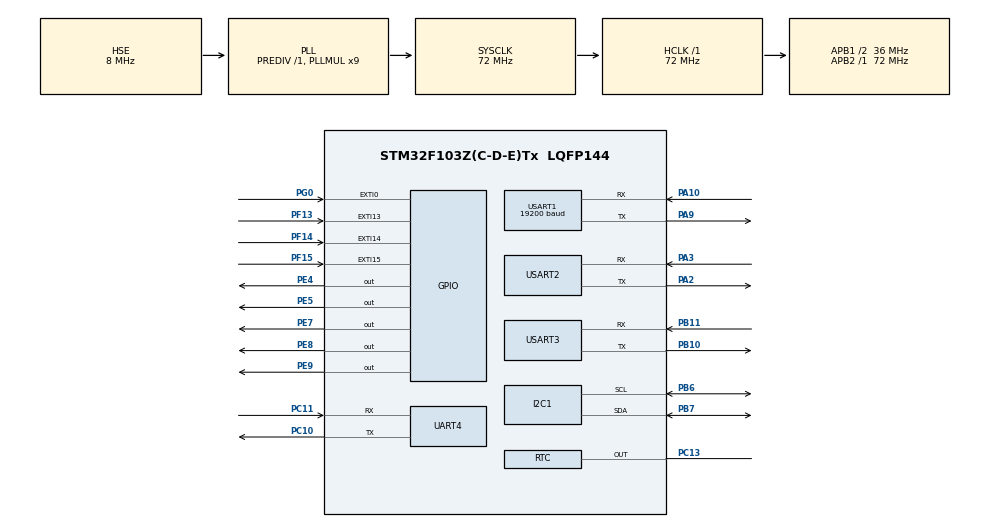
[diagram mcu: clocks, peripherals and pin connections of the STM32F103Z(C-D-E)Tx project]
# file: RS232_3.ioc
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Dma.I2C1_RX.0.Direction=DMA_PERIPH_TO_MEMORY
Dma.I2C1_RX.0.Instance=DMA1_Channel7
Dma.I2C1_RX.0.MemDataAlignment=DMA_MDATAALIGN_BYTE
Dma.I2C1_RX.0.MemInc=DMA_MINC_ENABLE
Dma.I2C1_RX.0.Mode=DMA_CIRCULAR
Dma.I2C1_RX.0.PeriphDataAlignment=DMA_PDATAALIGN_BYTE
Dma.I2C1_RX.0.PeriphInc=DMA_PINC_DISABLE
Dma.I2C1_RX.0.Priority=DMA_PRIORITY_LOW
Dma.Request0=I2C1_RX
I2C1.I2C_Mode=I2C_Fast
Mcu.Family=STM32F1
Mcu.Name=STM32F103Z(C-D-E)Tx
Mcu.Package=LQFP144
NVIC.DMA1_Channel7_IRQn=true\:0\:0\:false\:false\:true
NVIC.EXTI0_IRQn=true\:0\:0\:false\:false\:true
NVIC.EXTI15_10_IRQn=true\:0\:0\:false\:false\:true
NVIC.I2C1_EV_IRQn=true\:0\:0\:false\:false\:true
NVIC.PriorityGroup=NVIC_PRIORITYGROUP_4
NVIC.TIM2_IRQn=true\:0\:0\:false\:false\:true
NVIC.UART4_IRQn=true\:0\:0\:false\:false\:true
NVIC.USART1_IRQn=true\:0\:0\:false\:false\:true
NVIC.USART2_IRQn=true\:0\:0\:false\:false\:true
NVIC.USART3_IRQn=true\:0\:0\:false\:false\:true
OSC_IN.Mode=HSE-External-Oscillator
OSC_IN.Signal=RCC_OSC_IN
OSC_OUT.Mode=HSE-External-Oscillator
OSC_OUT.Signal=RCC_OSC_OUT
PA10.Mode=Asynchronous
PA10.Signal=USART1_RX
PA2.Mode=Asynchronous
PA2.Signal=USART2_TX
PA3.Mode=Asynchronous
PA3.Signal=USART2_RX
PA9.Mode=Asynchronous
PA9.Signal=USART1_TX
PB10.Mode=Asynchronous
PB10.Signal=USART3_TX
PB11.Mode=Asynchronous
PB11.Signal=USART3_RX
PB6.Mode=I2C
PB6.Signal=I2C1_SCL
PB7.Mode=I2C
PB7.Signal=I2C1_SDA
PC10.Mode=Asynchronous
PC10.Signal=UART4_TX
PC11.Mode=Asynchronous
PC11.Signal=UART4_RX
PC13-TAMPER-RTC.Mode=RTC OUT
PC13-TAMPER-RTC.Signal=RTC_OUT
PE4.Signal=GPIO_Output
PE5.Signal=GPIO_Output
PE7.Signal=GPIO_Output
PE8.Signal=GPIO_Output
PE9.Signal=GPIO_Output
PF13.Signal=GPXTI13
PF14.Signal=GPXTI14
PF15.Signal=GPXTI15
PG0.Signal=GPXTI0
ProjectManager.HeapSize=0x200
ProjectManager.StackSize=0x400
ProjectManager.TargetToolchain=MDK-ARM V5
RCC.AHBFreq_Value=72000000
RCC.APB1CLKDivider=RCC_HCLK_DIV2
RCC.APB1Freq_Value=36000000
RCC.APB1TimFreq_Value=72000000
RCC.APB2Freq_Value=72000000
RCC.APB2TimFreq_Value=72000000
RCC.HCLKFreq_Value=72000000
RCC.HSIState=RCC_HSI_ON
RCC.PLLMUL=RCC_PLL_MUL9
RCC.PLLSourceVirtual=RCC_PLLSOURCE_HSE
RCC.SYSCLKFreq_VALUE=72000000
RCC.SYSCLKSource=RCC_SYSCLKSOURCE_PLLCLK
RCC.USBFreq_Value=72000000
RTC.Date=26
RTC.Format=RTC_FORMAT_BIN
RTC.Hours=1
RTC.Minutes=32
RTC.Month=RTC_MONTH_JULY
RTC.WeekDay=RTC_WEEKDAY_THURSDAY
RTC.Year=18
TIM1.Period=199
TIM1.Prescaler=36000
TIM2.Period=1999
TIM2.Prescaler=36000
USART1.BaudRate=19200
VP_TIM1_VS_ClockSourceINT.Mode=Internal
VP_TIM2_VS_ClockSourceINT.Mode=Internal
board=RS232_3

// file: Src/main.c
/**
  ******************************************************************************
  * File Name          : main.c
  * Description        : Main program body
  ******************************************************************************
  *
  * COPYRIGHT(c) 2018 STMicroelectronics
  *
  * Redistribution and use in source and binary forms, with or without modification,
  * are permitted provided that the following conditions are met:
  *   1. Redistributions of source code must retain the above copyright notice,
  *      this list of conditions and the following disclaimer.
  *   2. Redistributions in binary form must reproduce the above copyright notice,
  *      this list of conditions and the following disclaimer in the documentation
  *      and/or other materials provided with the distribution.
  *   3. Neither the name of STMicroelectronics nor the names of its contributors
  *      may be used to endorse or promote products derived from this software
  *      without specific prior written permission.
  *
  * THIS SOFTWARE IS PROVIDED BY THE COPYRIGHT HOLDERS AND CONTRIBUTORS "AS IS"
  * AND ANY EXPRESS OR IMPLIED WARRANTIES, INCLUDING, BUT NOT LIMITED TO, THE
  * IMPLIED WARRANTIES OF MERCHANTABILITY AND FITNESS FOR A PARTICULAR PURPOSE ARE
  * DISCLAIMED. IN NO EVENT SHALL THE COPYRIGHT HOLDER OR CONTRIBUTORS BE LIABLE
  * FOR ANY DIRECT, INDIRECT, INCIDENTAL, SPECIAL, EXEMPLARY, OR CONSEQUENTIAL
  * DAMAGES (INCLUDING, BUT NOT LIMITED TO, PROCUREMENT OF SUBSTITUTE GOODS OR
  * SERVICES; LOSS OF USE, DATA, OR PROFITS; OR BUSINESS INTERRUPTION) HOWEVER
  * CAUSED AND ON ANY THEORY OF LIABILITY, WHETHER IN CONTRACT, STRICT LIABILITY,
  * OR TORT (INCLUDING NEGLIGENCE OR OTHERWISE) ARISING IN ANY WAY OUT OF THE USE
  * OF THIS SOFTWARE, EVEN IF ADVISED OF THE POSSIBILITY OF SUCH DAMAGE.
  *
  ******************************************************************************
  */
#include "stm32f1xx_hal.h"

/* USER CODE BEGIN Includes */
#define DS3231_ADD 0x68
#define Len_rtc 21
/* USER CODE END Includes */

I2C_HandleTypeDef hi2c1;
DMA_HandleTypeDef hdma_i2c1_rx;

RTC_HandleTypeDef hrtc;

TIM_HandleTypeDef htim1;
TIM_HandleTypeDef htim2;

UART_HandleTypeDef huart4;
UART_HandleTypeDef huart1;
UART_HandleTypeDef huart2;
UART_HandleTypeDef huart3;

/* USER CODE BEGIN PV */
/* Private variables ---------------------------------------------------------*/
uint8_t Tx_data[5];
uint8_t cnt;
uint16_t timer;
typedef struct UARTRS232
{
	char Rx_indx;
	char Rx_data[1];
	char	Rx_Buffer[100];
	char	Transfer_cplt;
	char rtc_relay_uart[59];
} Uart2rs232;
Uart2rs232 uart2rs232;

typedef struct RTC_1
{
	uint8_t send_rtc[7];
	uint8_t read_rtc[7];
	uint8_t second,minute,hour,day,date,month,year;
	char rtc1_uart[22];
} RTC1;
RTC1 rtc1;

typedef struct RTC_2
{
	uint8_t giay,phut,gio,thu,ngay,thang,nam;
	RTC_TimeTypeDef sTime;
  RTC_DateTypeDef DateToUpdate;
	char rtc2_uart[21];
}RTC2;
RTC2 rtc2;

typedef struct set_time
{
	uint8_t H1_bat;
	uint8_t H1_tat;
	uint8_t M1_bat;
	uint8_t M1_tat;

	uint8_t H2_bat;
	uint8_t H2_tat;
	uint8_t M2_bat;
	uint8_t M2_tat;

	uint8_t set_ngay;
	uint8_t set_thang;
	uint8_t set_nam;
	uint8_t set_gio;
	uint8_t set_phut;
	uint8_t set_giay;
	uint8_t tam_set_time;
	uint8_t send_data_rtc[7];
}TIME;
TIME time;

typedef struct check_relay
{
	uint8_t check_1;
	uint8_t check_2;
	uint8_t check_3;
	uint8_t cnt_relay1;
	uint8_t cnt_relay2;
	uint8_t cnt_relay3;
	uint8_t relay_echo1;
	uint8_t relay_echo2;
	uint8_t relay_echo3;
	uint8_t relay_echo4;
	uint8_t count_relay1;
	uint8_t count_relay2;
	uint8_t count_relay3;
	uint8_t status_relay1;
	uint8_t status_relay2;
	uint8_t status_relay3;
	uint8_t status_relay4;
	uint8_t tam_relay1;
	uint8_t tam_relay2;
	uint8_t tam_relay3;
	char relay_echo[11];
}RELAY;
RELAY relay;
typedef struct RS485
{
		uint8_t trans_1;
		uint8_t trans_2;
}RS485;
RS485 rs485;
uint8_t a;
uint8_t cnt_relay1;
uint8_t cnt_relay2;
uint8_t cnt_relay3;
/* USER CODE END PV */

void SystemClock_Config(void);
static void MX_GPIO_Init(void);
static void MX_DMA_Init(void);
static void MX_USART1_UART_Init(void);
static void MX_UART4_Init(void);
static void MX_TIM2_Init(void);
static void MX_I2C1_Init(void);
static void MX_RTC_Init(void);
static void MX_USART2_UART_Init(void);
static void MX_USART3_UART_Init(void);
static void MX_TIM1_Init(void);

/* USER CODE BEGIN PFP */
/* Private function prototypes -----------------------------------------------*/
void HAL_UART_RxCpltCallback(UART_HandleTypeDef *huart);
void ONOFF_relay(void);
uint8_t BCD2DEC(uint8_t data);
uint8_t DEC2BCD(uint8_t data);
void read_rtc1(void);
void read_rtc2(void);
void transmit_RTC_relayecho(void);
void ONOFF_relay_time(void);
void check_setting_Time(void);
void count_relay(void);
void relay_10_times(void);
void relay_echo(void);
void set_time(void);
void set_rtc1(void);
void status_relay(void);
void renew_tam_relay(void);
/* USER CODE END PFP */

/* USER CODE BEGIN 0 */

//-------------Receive UART----------------------------------------------------
void HAL_UART_RxCpltCallback(UART_HandleTypeDef *huart)
{
    if (huart->Instance == huart1.Instance)                                                               //current UART
		{
				if (uart2rs232.Rx_indx==0)
				{
						for (uint8_t i=0;i<100;i++) uart2rs232.Rx_Buffer[i]=0;                                        //clear Rx_Buffer before receiving new data
				}

				if (uart2rs232.Rx_data[0]!='\n')                                                                  //if received data different from ascii 13 (enter)
				{
						uart2rs232.Rx_Buffer[uart2rs232.Rx_indx++]=uart2rs232.Rx_data[0];                            //add data to Rx_Buffer
				}
				else                                                                                             //if received data = 13
				{
						uart2rs232.Rx_indx=0;
						HAL_UART_Transmit_IT(&huart1,(uint8_t *)uart2rs232.Rx_Buffer,sizeof(uart2rs232.Rx_Buffer));
				}
				HAL_UART_Receive_IT(&huart1,(uint8_t *)uart2rs232.Rx_data, 1);                                    //activate UART receive interrupt every time
		}

		if(huart->Instance==huart4.Instance)
		{
				if (uart2rs232.Rx_indx==0)
				{
						for (uint8_t i=0;i<100;i++) uart2rs232.Rx_Buffer[i]=0;                                        //clear Rx_Buffer before receiving new data
				}

				if (uart2rs232.Rx_data[0]!='\n')                                                                  //if received data different from ascii 13 (enter)
				{
						uart2rs232.Rx_Buffer[uart2rs232.Rx_indx++]=uart2rs232.Rx_data[0];                             //add data to Rx_Buffer
				}
				else                                                                                              //if received data = 13
				{
						uart2rs232.Rx_indx=0;
						HAL_UART_Transmit_IT(&huart4,(uint8_t *)uart2rs232.Rx_Buffer,sizeof(uart2rs232.Rx_Buffer));
				}
				HAL_UART_Receive_IT(&huart4,(uint8_t *)uart2rs232.Rx_data, 1);                                    //activate UART receive interrupt every time
		}

		if(huart->Instance==huart2.Instance)
		{

				if (uart2rs232.Rx_indx==0)
				{
						for (uint8_t i=0;i<100;i++) uart2rs232.Rx_Buffer[i]=0;                                        //clear Rx_Buffer before receiving new data
				}

				if (uart2rs232.Rx_data[0]!='\n')                                                                  //if received data different from ascii 13 (enter)
				{
						uart2rs232.Rx_Buffer[uart2rs232.Rx_indx++]=uart2rs232.Rx_data[0];                             //add data to Rx_Buffer
				}
				else                                                                                              //if received data = 13
				{
						uart2rs232.Rx_indx=0;
						HAL_GPIO_WritePin(GPIOE,GPIO_PIN_5,GPIO_PIN_SET);
						HAL_UART_Transmit_IT(&huart2,(uint8_t *)uart2rs232.Rx_Buffer,sizeof(uart2rs232.Rx_Buffer));
				}
				HAL_UART_Receive_IT(&huart2,(uint8_t *)uart2rs232.Rx_data, 1);                                    //activate UART receive interrupt every time
		}

		if(huart->Instance==huart3.Instance)
		{
				if (uart2rs232.Rx_indx==0)
				{
						for (uint8_t i=0;i<100;i++) uart2rs232.Rx_Buffer[i]=0;                                        //clear Rx_Buffer before receiving new data
				}

				if (uart2rs232.Rx_data[0]!='\n')                                                                  //if received data different from ascii 13 (enter)
				{
						uart2rs232.Rx_Buffer[uart2rs232.Rx_indx++]=uart2rs232.Rx_data[0];                             //add data to Rx_Buffer
				}
				else                                                                                              //if received data = 13
				{
						uart2rs232.Rx_indx=0;
						HAL_GPIO_WritePin(GPIOE,GPIO_PIN_4,GPIO_PIN_SET);
						HAL_UART_Transmit_IT(&huart3,(uint8_t *)uart2rs232.Rx_Buffer,sizeof(uart2rs232.Rx_Buffer));
				}
				HAL_UART_Receive_IT(&huart3,(uint8_t *)uart2rs232.Rx_data, 1);                                    //activate UART receive interrupt every time
		}
}
//--------TX RS485------------------------------------------------------------------------
void HAL_UART_TxCpltCallback(UART_HandleTypeDef *huart)
{
		if(huart->Instance==huart2.Instance)
		{
				HAL_GPIO_WritePin(GPIOE,GPIO_PIN_5,GPIO_PIN_RESET);
		}
		if(huart->Instance==huart3.Instance)
		{
				HAL_GPIO_WritePin(GPIOE,GPIO_PIN_4,GPIO_PIN_RESET);
		}
}
//--------------check relay-------------------------------------------------------------------
void ONOFF_relay(void)
{
		if(uart2rs232.Rx_Buffer[1]=='\r')
		{
				switch(uart2rs232.Rx_Buffer[0])
				{
						case '<':
								HAL_GPIO_WritePin(GPIOE,GPIO_PIN_7,GPIO_PIN_SET);
							break;
						case '>':
								HAL_GPIO_WritePin(GPIOE,GPIO_PIN_7,GPIO_PIN_RESET);
							break;
						case '?':
								HAL_GPIO_WritePin(GPIOE,GPIO_PIN_8,GPIO_PIN_SET);
							break;
						case '/':
								HAL_GPIO_WritePin(GPIOE,GPIO_PIN_8,GPIO_PIN_RESET);
							break;
						case ';':
								HAL_GPIO_WritePin(GPIOE,GPIO_PIN_9,GPIO_PIN_SET);
							break;
						case ':':
								HAL_GPIO_WritePin(GPIOE,GPIO_PIN_9,GPIO_PIN_RESET);
							break;
						case '~':
								relay.check_1++;
							for (uint8_t i=0;i<100;i++) uart2rs232.Rx_Buffer[i]=0;
						break;
						case '!':
								relay.check_2++;
								for (uint8_t i=0;i<100;i++) uart2rs232.Rx_Buffer[i]=0;
						break;
						case '@':
								relay.check_3++;
								for (uint8_t i=0;i<100;i++) uart2rs232.Rx_Buffer[i]=0;
						break;
						default: break;
				}
		}
}

void relay_10_times(void)
{
		if(relay.check_1!=0)
		{
				HAL_GPIO_TogglePin(GPIOE,GPIO_PIN_7);
				relay.cnt_relay1++;
				if(relay.cnt_relay1==10)
				{
						relay.cnt_relay1=0;
						relay.check_1--;
				}
		}

		if(relay.check_2!=0)
		{
				HAL_GPIO_TogglePin(GPIOE,GPIO_PIN_8);
				relay.cnt_relay2++;
				if(relay.cnt_relay2==10)
				{
						relay.cnt_relay2=0;
						relay.check_2--;
				}
		}

		if(relay.check_3!=0)
		{
				HAL_GPIO_TogglePin(GPIOE,GPIO_PIN_9);
				relay.cnt_relay3++;
				if(relay.cnt_relay3==10)
				{
						relay.cnt_relay3=0;
						relay.check_3--;
				}
		}
		cnt++;
		HAL_Delay(500);
}
void ONOFF_relay_time(void)
{
		check_setting_Time();
		if(time.H1_bat!=time.H1_tat || time.M1_bat!=time.M1_tat)
		{
				if(rtc1.hour==time.H1_bat && rtc1.minute==time.M1_bat)
				{
						HAL_GPIO_WritePin(GPIOE,GPIO_PIN_7,GPIO_PIN_SET);
				}
				else if(rtc1.hour==time.H1_tat && rtc1.minute == time.M1_tat)
				{
						HAL_GPIO_WritePin(GPIOE,GPIO_PIN_7,GPIO_PIN_RESET);
				}
		}

		if(time.H2_bat!=time.H2_tat || time.M2_bat!=time.M2_tat)
		{
				if(rtc2.gio==time.H2_bat && rtc2.phut==time.M2_bat)
				{
						HAL_GPIO_WritePin(GPIOE,GPIO_PIN_8,GPIO_PIN_SET);
				}
				else if(rtc2.gio==time.H2_tat && rtc2.phut == time.M2_tat)
				{
						HAL_GPIO_WritePin(GPIOE,GPIO_PIN_8,GPIO_PIN_RESET);
				}
		}
}

void relay_echo(void)
{
		if(HAL_GPIO_ReadPin(GPIOF,GPIO_PIN_13)==0)
		{
				relay.relay_echo1=1;
		}
		else relay.relay_echo1=0;

		if(HAL_GPIO_ReadPin(GPIOF,GPIO_PIN_14)==0)
		{
				relay.relay_echo2=1;
		}
		else relay.relay_echo2=0;

		if(HAL_GPIO_ReadPin(GPIOF,GPIO_PIN_15)==0)
		{
				relay.relay_echo3=1;
		}
		else relay.relay_echo3=0;

		if(HAL_GPIO_ReadPin(GPIOG,GPIO_PIN_0)==0)
		{
				relay.relay_echo4=1;
		}
		else relay.relay_echo4=0;
}

void status_relay(void)
{
		if(HAL_GPIO_ReadPin(GPIOF,GPIO_PIN_14)==1)
		{
						relay.status_relay1=0;
		}
		if(HAL_GPIO_ReadPin(GPIOF,GPIO_PIN_14)==0)
		{
				relay.status_relay1=1;
		}

		if(HAL_GPIO_ReadPin(GPIOF,GPIO_PIN_15)==1)
		{
				relay.status_relay2=0;
		}
		if(HAL_GPIO_ReadPin(GPIOF,GPIO_PIN_15)==0)
		{
				relay.status_relay2=1;
		}

		if(HAL_GPIO_ReadPin(GPIOG,GPIO_PIN_0)==1)
		{
				relay.status_relay3=0;
		}
		if(HAL_GPIO_ReadPin(GPIOG,GPIO_PIN_0)==0)
		{
				relay.status_relay3=1;
		}
		if(HAL_GPIO_ReadPin(GPIOF,GPIO_PIN_13)==1)
		{
				relay.status_relay4=0;
		}
		if(HAL_GPIO_ReadPin(GPIOF,GPIO_PIN_13)==0)
		{
				relay.status_relay4=1;
		}
}
void count_relay(void)
{
		if(relay.status_relay1!=relay.tam_relay1)
		{
				relay.count_relay1++;
		}
		if(relay.status_relay2!=relay.tam_relay2)
		{
				relay.count_relay2++;
		}
		if(relay.status_relay3!=relay.tam_relay3)
		{
				relay.count_relay3++;
		}
}
void renew_tam_relay(void)
{
		relay.tam_relay1=relay.status_relay1;
		relay.tam_relay2=relay.status_relay2;
		relay.tam_relay3=relay.status_relay3;
}
//--------TIMER 1-----------------------------------------------------------------
void HAL_TIM_PeriodElapsedCallback(TIM_HandleTypeDef *htim)
{
		if(htim->Instance == htim2.Instance)
		{
				transmit_RTC_relayecho();
		}
		if(htim->Instance == htim1.Instance)
		{
				cnt++;
		}
}
//----------RTC------------------------------------------------------------
uint8_t BCD2DEC(uint8_t data)
{
		return (data>>4)*10 + (data&0x0f);
}
uint8_t DEC2BCD(uint8_t data)
{
		return (data/10)<<4|(data%10);
}
void HAL_I2C_MemRxCpltCallback(I2C_HandleTypeDef *hi2c)
{
		if(hi2c->Instance==hi2c1.Instance)
		{
				rtc1.second=BCD2DEC(rtc1.read_rtc[0]);
				rtc1.minute=BCD2DEC(rtc1.read_rtc[1]);
				rtc1.hour=BCD2DEC(rtc1.read_rtc[2]);
				rtc1.day=BCD2DEC(rtc1.read_rtc[3]);
				rtc1.date=BCD2DEC(rtc1.read_rtc[4]);
				rtc1.month=BCD2DEC(rtc1.read_rtc[5]);
				rtc1.year=BCD2DEC(rtc1.read_rtc[6]);
		}
}
void read_rtc1(void)
{
		HAL_I2C_Mem_Read_DMA(&hi2c1,DS3231_ADD<<1,0,I2C_MEMADD_SIZE_8BIT,rtc1.read_rtc,7);
}

void read_rtc2(void)
{
		HAL_RTC_GetTime(&hrtc,&rtc2.sTime,RTC_FORMAT_BIN);
		HAL_RTC_GetDate(&hrtc,&rtc2.DateToUpdate,RTC_FORMAT_BIN);
		rtc2.giay=rtc2.sTime.Seconds;
		rtc2.phut=rtc2.sTime.Minutes;
		rtc2.gio=rtc2.sTime.Hours;
		rtc2.thu=rtc2.DateToUpdate.WeekDay;
		rtc2.ngay=rtc2.DateToUpdate.Date;
		rtc2.thang=rtc2.DateToUpdate.Month;
		rtc2.nam=rtc2.DateToUpdate.Year;
}
void transmit_RTC_relayecho(void)
{
		relay_echo();
		sprintf(uart2rs232.rtc_relay_uart,"T,%02d,%02d,%02d,%02d,%02d,%02d,%02d,%02d,%02d,%02d,%02d,%02d,%d,%d,%d,%d,%03d,%03d,%03d,*",
						rtc1.date,rtc1.month,rtc1.year,rtc1.hour,rtc1.minute,rtc1.second,rtc2.ngay,rtc2.thang,rtc2.nam,rtc2.gio,rtc2.phut,rtc2.giay,
						relay.relay_echo1,relay.relay_echo2,relay.relay_echo3,relay.relay_echo4,
						relay.count_relay1,relay.count_relay2,relay.count_relay3);
		HAL_UART_Transmit_IT(&huart1,(uint8_t *)uart2rs232.rtc_relay_uart,59);
}
//--------SETTING TIME---------------------------------------------------------------
void check_setting_Time(void)
{
		if(uart2rs232.Rx_Buffer[0]=='S' && uart2rs232.Rx_Buffer[1]=='1' && uart2rs232.Rx_Buffer[14]=='\r')
		{
				time.H1_bat	=(uart2rs232.Rx_Buffer[3]-48)*10 + (uart2rs232.Rx_Buffer[4]-48);
				time.M1_bat	=(uart2rs232.Rx_Buffer[6]-48)*10 + (uart2rs232.Rx_Buffer[7]-48);
				time.H1_tat	=(uart2rs232.Rx_Buffer[9]-48)*10 + (uart2rs232.Rx_Buffer[10]-48);
				time.M1_tat	=(uart2rs232.Rx_Buffer[12]-48)*10 + (uart2rs232.Rx_Buffer[13]-48);
		}
		if(uart2rs232.Rx_Buffer[0]=='S' && uart2rs232.Rx_Buffer[1]=='2' && uart2rs232.Rx_Buffer[14]=='\r')
		{
				time.H2_bat	=(uart2rs232.Rx_Buffer[3]-48)*10 + (uart2rs232.Rx_Buffer[4]-48);
				time.M2_bat	=(uart2rs232.Rx_Buffer[6]-48)*10 + (uart2rs232.Rx_Buffer[7]-48);
				time.H2_tat	=(uart2rs232.Rx_Buffer[9]-48)*10 + (uart2rs232.Rx_Buffer[10]-48);
				time.M2_tat	=(uart2rs232.Rx_Buffer[12]-48)*10 + (uart2rs232.Rx_Buffer[13]-48);
		}
}
void set_rtc1(void)
{
		time.send_data_rtc[0]=DEC2BCD(time.set_giay);
		time.send_data_rtc[1]=DEC2BCD(time.set_phut);
		time.send_data_rtc[2]=DEC2BCD(time.set_gio);
		time.send_data_rtc[3]=DEC2BCD(2);
		time.send_data_rtc[4]=DEC2BCD(time.set_ngay);
		time.send_data_rtc[5]=DEC2BCD(time.set_thang);
		time.send_data_rtc[6]=DEC2BCD(time.set_nam);
		HAL_I2C_Mem_Write_IT(&hi2c1,DS3231_ADD<<1,0,I2C_MEMADD_SIZE_8BIT,time.send_data_rtc,7);
}
void set_time(void)
{
		if(uart2rs232.Rx_Buffer[0]=='S' && uart2rs232.Rx_Buffer[1]=='T' && uart2rs232.Rx_Buffer[20]=='\r')
		{
				time.set_ngay		=(uart2rs232.Rx_Buffer[3]-48)*10 + (uart2rs232.Rx_Buffer[4]-48);
				time.set_thang	=(uart2rs232.Rx_Buffer[6]-48)*10 + (uart2rs232.Rx_Buffer[7]-48);
				time.set_nam		=(uart2rs232.Rx_Buffer[9]-48)*10 + (uart2rs232.Rx_Buffer[10]-48);
				time.set_gio		=(uart2rs232.Rx_Buffer[12]-48)*10 + (uart2rs232.Rx_Buffer[13]-48);
				time.set_phut		=(uart2rs232.Rx_Buffer[15]-48)*10 + (uart2rs232.Rx_Buffer[16]-48);
				time.set_giay		=(uart2rs232.Rx_Buffer[18]-48)*10 + (uart2rs232.Rx_Buffer[19]-48);
				time.tam_set_time=1;
				for (uint8_t i=0;i<100;i++) uart2rs232.Rx_Buffer[i]=0;
		}
		if(time.tam_set_time==1)
		{
				MX_RTC_Init();
				set_rtc1();
				time.tam_set_time=0;
		}
}
/* USER CODE END 0 */

int main(void)
{

  /* MCU Configuration----------------------------------------------------------*/

  /* Reset of all peripherals, Initializes the Flash interface and the Systick. */
  HAL_Init();

  /* Configure the system clock */
  SystemClock_Config();

  /* Initialize all configured peripherals */
  MX_GPIO_Init();
  MX_DMA_Init();
  MX_USART1_UART_Init();
  MX_UART4_Init();
  MX_TIM2_Init();
  MX_I2C1_Init();
  MX_RTC_Init();
  MX_USART2_UART_Init();
  MX_USART3_UART_Init();
  MX_TIM1_Init();

  /* USER CODE BEGIN 2 */
	__HAL_UART_ENABLE_IT(&huart1,UART_IT_RXNE);
	__HAL_UART_ENABLE_IT(&huart1,UART_IT_TC);
	__HAL_UART_ENABLE_IT(&huart4,UART_IT_RXNE);
	__HAL_UART_ENABLE_IT(&huart4,UART_IT_TC);
	__HAL_UART_ENABLE_IT(&huart2,UART_IT_RXNE);
	__HAL_UART_ENABLE_IT(&huart2,UART_IT_TC);
	__HAL_UART_ENABLE_IT(&huart3,UART_IT_RXNE);
	__HAL_UART_ENABLE_IT(&huart3,UART_IT_TC);
	HAL_UART_Receive_IT(&huart1,(uint8_t *)uart2rs232.Rx_data, 1);
	HAL_UART_Transmit_IT(&huart1,(uint8_t *)uart2rs232.Rx_Buffer,sizeof(uart2rs232.Rx_Buffer));
	HAL_UART_Receive_IT(&huart4,(uint8_t *)uart2rs232.Rx_data, 1);
	HAL_UART_Transmit_IT(&huart4,(uint8_t *)uart2rs232.Rx_Buffer,sizeof(uart2rs232.Rx_Buffer));
	HAL_UART_Receive_IT(&huart2,(uint8_t *)uart2rs232.Rx_data, 1);
	HAL_UART_Transmit_IT(&huart2,(uint8_t *)uart2rs232.Rx_Buffer,sizeof(uart2rs232.Rx_Buffer));
	HAL_UART_Receive_IT(&huart3,(uint8_t *)uart2rs232.Rx_data, 1);
	HAL_UART_Transmit_IT(&huart3,(uint8_t *)uart2rs232.Rx_Buffer,sizeof(uart2rs232.Rx_Buffer));
	HAL_TIM_Base_Start_IT(&htim2);

  /* USER CODE END 2 */

  /* Infinite loop */
  /* USER CODE BEGIN WHILE */
  while (1)
  {
			read_rtc1();
			read_rtc2();
			set_time();

			ONOFF_relay();
			relay_10_times();
			ONOFF_relay_time();
			status_relay();
			count_relay();
			renew_tam_relay();
  /* USER CODE END WHILE */

  }

}

/** System Clock Configuration
*/
void SystemClock_Config(void)
{

  RCC_OscInitTypeDef RCC_OscInitStruct;
  RCC_ClkInitTypeDef RCC_ClkInitStruct;
  RCC_PeriphCLKInitTypeDef PeriphClkInit;

  RCC_OscInitStruct.OscillatorType = RCC_OSCILLATORTYPE_LSI|RCC_OSCILLATORTYPE_HSE;
  RCC_OscInitStruct.HSEState = RCC_HSE_ON;
  RCC_OscInitStruct.HSEPredivValue = RCC_HSE_PREDIV_DIV1;
  RCC_OscInitStruct.LSIState = RCC_LSI_ON;
  RCC_OscInitStruct.PLL.PLLState = RCC_PLL_ON;
  RCC_OscInitStruct.PLL.PLLSource = RCC_PLLSOURCE_HSE;
  RCC_OscInitStruct.PLL.PLLMUL = RCC_PLL_MUL9;
  HAL_RCC_OscConfig(&RCC_OscInitStruct);

  RCC_ClkInitStruct.ClockType = RCC_CLOCKTYPE_HCLK|RCC_CLOCKTYPE_SYSCLK
                              |RCC_CLOCKTYPE_PCLK1|RCC_CLOCKTYPE_PCLK2;
  RCC_ClkInitStruct.SYSCLKSource = RCC_SYSCLKSOURCE_PLLCLK;
  RCC_ClkInitStruct.AHBCLKDivider = RCC_SYSCLK_DIV1;
  RCC_ClkInitStruct.APB1CLKDivider = RCC_HCLK_DIV2;
  RCC_ClkInitStruct.APB2CLKDivider = RCC_HCLK_DIV1;
  HAL_RCC_ClockConfig(&RCC_ClkInitStruct, FLASH_LATENCY_2);

  PeriphClkInit.PeriphClockSelection = RCC_PERIPHCLK_RTC;
  PeriphClkInit.RTCClockSelection = RCC_RTCCLKSOURCE_LSI;
  HAL_RCCEx_PeriphCLKConfig(&PeriphClkInit);

  HAL_SYSTICK_Config(HAL_RCC_GetHCLKFreq()/1000);

  HAL_SYSTICK_CLKSourceConfig(SYSTICK_CLKSOURCE_HCLK);

  /* SysTick_IRQn interrupt configuration */
  HAL_NVIC_SetPriority(SysTick_IRQn, 0, 0);
}

/* I2C1 init function */
void MX_I2C1_Init(void)
{

  hi2c1.Instance = I2C1;
  hi2c1.Init.ClockSpeed = 400000;
  hi2c1.Init.DutyCycle = I2C_DUTYCYCLE_2;
  hi2c1.Init.OwnAddress1 = 0;
  hi2c1.Init.AddressingMode = I2C_ADDRESSINGMODE_7BIT;
  hi2c1.Init.DualAddressMode = I2C_DUALADDRESS_DISABLE;
  hi2c1.Init.OwnAddress2 = 0;
  hi2c1.Init.GeneralCallMode = I2C_GENERALCALL_DISABLE;
  hi2c1.Init.NoStretchMode = I2C_NOSTRETCH_DISABLE;
  HAL_I2C_Init(&hi2c1);

}

/* RTC init function */
void MX_RTC_Init(void)
{

  RTC_TimeTypeDef sTime;
  RTC_DateTypeDef DateToUpdate;
  RTC_AlarmTypeDef sAlarm;

    /**Initialize RTC and set the Time and Date
    */
  hrtc.Instance = RTC;
  hrtc.Init.AsynchPrediv = RTC_AUTO_1_SECOND;
  hrtc.Init.OutPut = RTC_OUTPUTSOURCE_ALARM;
  HAL_RTC_Init(&hrtc);

  sTime.Hours = time.set_gio;
  sTime.Minutes = time.set_phut;
  sTime.Seconds = time.set_giay;

  HAL_RTC_SetTime(&hrtc, &sTime, RTC_FORMAT_BIN);

  DateToUpdate.WeekDay = RTC_WEEKDAY_THURSDAY;
  DateToUpdate.Month = time.set_thang;
  DateToUpdate.Date = time.set_ngay;
  DateToUpdate.Year = time.set_nam;

  HAL_RTC_SetDate(&hrtc, &DateToUpdate, RTC_FORMAT_BIN);

    /**Enable the Alarm A
    */
  sAlarm.AlarmTime.Hours = 0;
  sAlarm.AlarmTime.Minutes = 0;
  sAlarm.AlarmTime.Seconds = 0;
  sAlarm.Alarm = RTC_ALARM_A;
  HAL_RTC_SetAlarm(&hrtc, &sAlarm, RTC_FORMAT_BIN);

}

/* TIM1 init function */
void MX_TIM1_Init(void)
{

  TIM_ClockConfigTypeDef sClockSourceConfig;
  TIM_MasterConfigTypeDef sMasterConfig;

  htim1.Instance = TIM1;
  htim1.Init.Prescaler = 36000;
  htim1.Init.CounterMode = TIM_COUNTERMODE_UP;
  htim1.Init.Period = 199;
  htim1.Init.ClockDivision = TIM_CLOCKDIVISION_DIV1;
  htim1.Init.RepetitionCounter = 0;
  HAL_TIM_Base_Init(&htim1);

  sClockSourceConfig.ClockSource = TIM_CLOCKSOURCE_INTERNAL;
  HAL_TIM_ConfigClockSource(&htim1, &sClockSourceConfig);

  sMasterConfig.MasterOutputTrigger = TIM_TRGO_RESET;
  sMasterConfig.MasterSlaveMode = TIM_MASTERSLAVEMODE_DISABLE;
  HAL_TIMEx_MasterConfigSynchronization(&htim1, &sMasterConfig);

}

/* TIM2 init function */
void MX_TIM2_Init(void)
{

  TIM_ClockConfigTypeDef sClockSourceConfig;
  TIM_MasterConfigTypeDef sMasterConfig;

  htim2.Instance = TIM2;
  htim2.Init.Prescaler = 36000;
  htim2.Init.CounterMode = TIM_COUNTERMODE_UP;
  htim2.Init.Period = 1999;
  htim2.Init.ClockDivision = TIM_CLOCKDIVISION_DIV1;
  HAL_TIM_Base_Init(&htim2);

  sClockSourceConfig.ClockSource = TIM_CLOCKSOURCE_INTERNAL;
  HAL_TIM_ConfigClockSource(&htim2, &sClockSourceConfig);

  sMasterConfig.MasterOutputTrigger = TIM_TRGO_RESET;
  sMasterConfig.MasterSlaveMode = TIM_MASTERSLAVEMODE_DISABLE;
  HAL_TIMEx_MasterConfigSynchronization(&htim2, &sMasterConfig);

}

/* UART4 init function */
void MX_UART4_Init(void)
{

  huart4.Instance = UART4;
  huart4.Init.BaudRate = 115200;
  huart4.Init.WordLength = UART_WORDLENGTH_8B;
  huart4.Init.StopBits = UART_STOPBITS_1;
  huart4.Init.Parity = UART_PARITY_NONE;
  huart4.Init.Mode = UART_MODE_TX_RX;
  huart4.Init.HwFlowCtl = UART_HWCONTROL_NONE;
  huart4.Init.OverSampling = UART_OVERSAMPLING_16;
  HAL_UART_Init(&huart4);

}

/* USART1 init function */
void MX_USART1_UART_Init(void)
{

  huart1.Instance = USART1;
  huart1.Init.BaudRate = 19200;
  huart1.Init.WordLength = UART_WORDLENGTH_8B;
  huart1.Init.StopBits = UART_STOPBITS_1;
  huart1.Init.Parity = UART_PARITY_NONE;
  huart1.Init.Mode = UART_MODE_TX_RX;
  huart1.Init.HwFlowCtl = UART_HWCONTROL_NONE;
  huart1.Init.OverSampling = UART_OVERSAMPLING_16;
  HAL_UART_Init(&huart1);

}

/* USART2 init function */
void MX_USART2_UART_Init(void)
{

  huart2.Instance = USART2;
  huart2.Init.BaudRate = 115200;
  huart2.Init.WordLength = UART_WORDLENGTH_8B;
  huart2.Init.StopBits = UART_STOPBITS_1;
  huart2.Init.Parity = UART_PARITY_NONE;
  huart2.Init.Mode = UART_MODE_TX_RX;
  huart2.Init.HwFlowCtl = UART_HWCONTROL_NONE;
  huart2.Init.OverSampling = UART_OVERSAMPLING_16;
  HAL_UART_Init(&huart2);

}

/* USART3 init function */
void MX_USART3_UART_Init(void)
{

  huart3.Instance = USART3;
  huart3.Init.BaudRate = 115200;
  huart3.Init.WordLength = UART_WORDLENGTH_8B;
  huart3.Init.StopBits = UART_STOPBITS_1;
  huart3.Init.Parity = UART_PARITY_NONE;
  huart3.Init.Mode = UART_MODE_TX_RX;
  huart3.Init.HwFlowCtl = UART_HWCONTROL_NONE;
  huart3.Init.OverSampling = UART_OVERSAMPLING_16;
  HAL_UART_Init(&huart3);

}

void MX_DMA_Init(void)
{
  /* DMA controller clock enable */
  __HAL_RCC_DMA1_CLK_ENABLE();

  /* DMA interrupt init */
  /* DMA1_Channel7_IRQn interrupt configuration */
  HAL_NVIC_SetPriority(DMA1_Channel7_IRQn, 0, 0);
  HAL_NVIC_EnableIRQ(DMA1_Channel7_IRQn);

}

/** Configure pins as
        * Analog
        * Input
        * Output
        * EVENT_OUT
        * EXTI
*/
void MX_GPIO_Init(void)
{

  GPIO_InitTypeDef GPIO_InitStruct;

  /* GPIO Ports Clock Enable */
  __HAL_RCC_GPIOE_CLK_ENABLE();
  __HAL_RCC_GPIOC_CLK_ENABLE();
  __HAL_RCC_GPIOA_CLK_ENABLE();
  __HAL_RCC_GPIOF_CLK_ENABLE();
  __HAL_RCC_GPIOG_CLK_ENABLE();
  __HAL_RCC_GPIOB_CLK_ENABLE();

  /*Configure GPIO pin Output Level */
  HAL_GPIO_WritePin(GPIOE, GPIO_PIN_4|GPIO_PIN_5|GPIO_PIN_7|GPIO_PIN_8
                          |GPIO_PIN_9, GPIO_PIN_RESET);

  /*Configure GPIO pins : PE4 PE5 PE7 PE8
                           PE9 */
  GPIO_InitStruct.Pin = GPIO_PIN_4|GPIO_PIN_5|GPIO_PIN_7|GPIO_PIN_8
                          |GPIO_PIN_9;
  GPIO_InitStruct.Mode = GPIO_MODE_OUTPUT_PP;
  GPIO_InitStruct.Speed = GPIO_SPEED_FREQ_LOW;
  HAL_GPIO_Init(GPIOE, &GPIO_InitStruct);

  /*Configure GPIO pins : PF13 PF14 PF15 */
  GPIO_InitStruct.Pin = GPIO_PIN_13|GPIO_PIN_14|GPIO_PIN_15;
  GPIO_InitStruct.Mode = GPIO_MODE_IT_RISING;
  GPIO_InitStruct.Pull = GPIO_NOPULL;
  HAL_GPIO_Init(GPIOF, &GPIO_InitStruct);

  /*Configure GPIO pin : PG0 */
  GPIO_InitStruct.Pin = GPIO_PIN_0;
  GPIO_InitStruct.Mode = GPIO_MODE_IT_RISING;
  GPIO_InitStruct.Pull = GPIO_NOPULL;
  HAL_GPIO_Init(GPIOG, &GPIO_InitStruct);

  /* EXTI interrupt init*/
  HAL_NVIC_SetPriority(EXTI0_IRQn, 0, 0);
  HAL_NVIC_EnableIRQ(EXTI0_IRQn);

  HAL_NVIC_SetPriority(EXTI15_10_IRQn, 0, 0);
  HAL_NVIC_EnableIRQ(EXTI15_10_IRQn);

}

/************************ (C) COPYRIGHT STMicroelectronics *****END OF FILE****/
